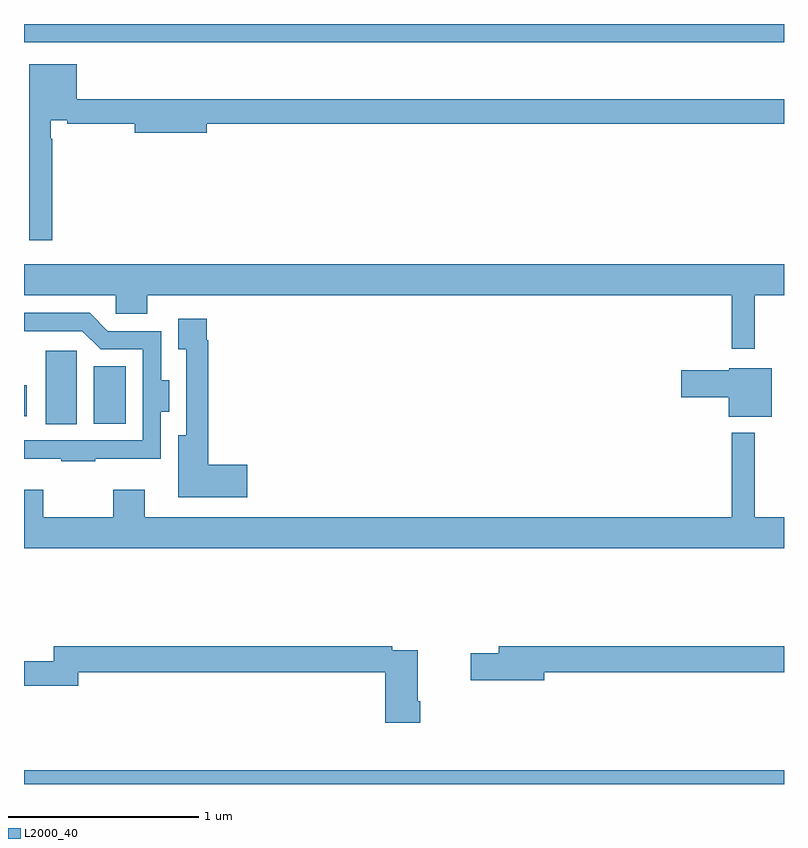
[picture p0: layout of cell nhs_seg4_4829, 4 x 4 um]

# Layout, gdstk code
import gdstk
lib = gdstk.Library(unit=1e-6, precision=1e-09)
def R(c, l, rs):  # rectangles x0, y0, x1, y1
    for r in rs: c.add(gdstk.rectangle(r[:2], r[2:], *l))
def P(c, l, *ps):  # polygons
    for p in ps: c.add(gdstk.Polygon(p, *l))
L2000_40 = (2000, 40)

nhs_seg4_4829 = lib.new_cell('nhs_seg4_4829')
R(nhs_seg4_4829, L2000_40, [(371,808.9,375,808.972), (371.114,810.793,371.278,811.18), (371.366,810.797,371.536,811.099), (371,810.836,371.014,811), (371,812.804,375,812.9)])
P(nhs_seg4_4829, L2000_40, [(371.149,812.297),(371.141,812.297),(371.141,812.394),(371.227,812.394),(371.227,812.374),(371.582,812.374),(371.582,812.327),(371.962,812.327),(371.962,812.374),(375,812.374),(375,812.503),(371.278,812.503),(371.278,812.689),(371.027,812.689),(371.027,811.761),(371.149,811.761)],
  [(374.845,811.472),(375,811.472),(375,811.636),(371,811.636),(371,811.472),(371.484,811.472),(371.484,811.374),(371.648,811.374),(371.648,811.472),(374.724,811.472),(374.724,811.191),(374.845,811.191)],
  [(371.375,810.611),(371.721,810.611),(371.721,810.86),(371.764,810.86),(371.764,811.024),(371.722,811.024),(371.722,811.284),(371.442,811.284),(371.346,811.38),(371,811.38),(371,811.284),(371.307,811.284),(371.403,811.188),(371.625,811.188),(371.625,810.708),(371,810.708),(371,810.611),(371.197,810.611),(371.197,810.6),(371.375,810.6)],
  [(372.175,810.581),(371.969,810.581),(371.969,811.235),(371.962,811.235),(371.962,811.348),(371.813,811.348),(371.813,811.187),(371.853,811.187),(371.853,810.736),(371.813,810.736),(371.813,810.41),(372.175,810.41)],
  [(374.935,811.087),(374.712,811.087),(374.712,811.077),(374.46,811.077),(374.46,810.935),(374.708,810.935),(374.708,810.833),(374.935,810.833)],
  [(371,810.448),(371,810.14),(375,810.14),(375,810.304),(374.845,810.304),(374.845,810.748),(374.724,810.748),(374.724,810.304),(371.635,810.304),(371.635,810.448),(371.471,810.448),(371.471,810.304),(371.101,810.304),(371.101,810.448)],
  [(373.085,809.335),(373.072,809.335),(373.072,809.604),(372.938,809.604),(372.938,809.624),(371.157,809.624),(371.157,809.546),(371,809.546),(371,809.418),(371.285,809.418),(371.285,809.488),(372.902,809.488),(372.902,809.223),(373.085,809.223)],
  [(373.738,809.488),(375,809.488),(375,809.624),(373.499,809.624),(373.499,809.588),(373.35,809.588),(373.35,809.446),(373.738,809.446)])

lib.write_gds('nhs_seg4_4829.gds')
